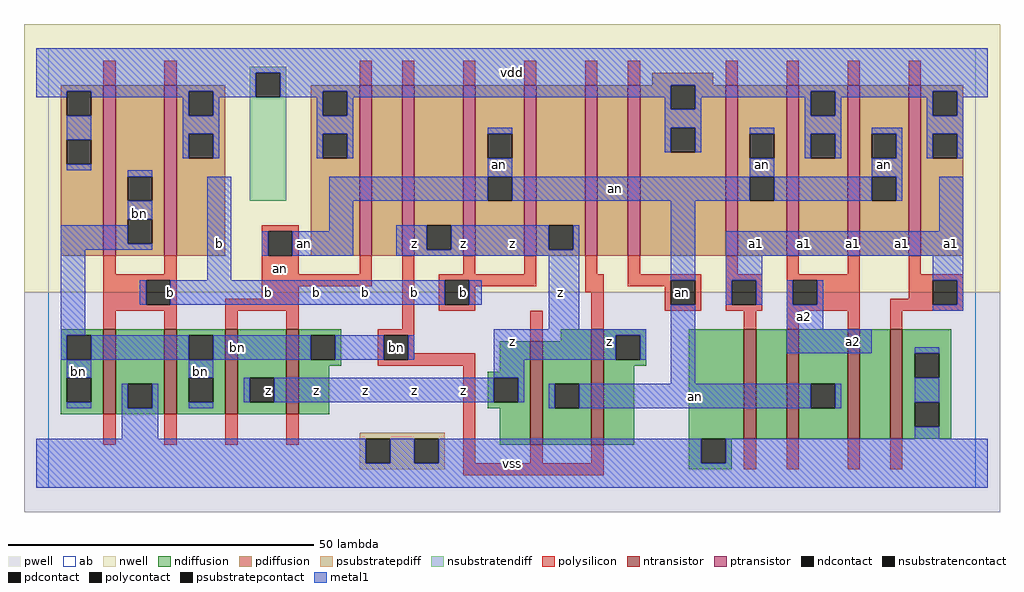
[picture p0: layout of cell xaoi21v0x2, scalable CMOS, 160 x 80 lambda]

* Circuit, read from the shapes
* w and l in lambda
.subckt xaoi21v0x2 a1 a2 an b bn vdd vss z
M1 vss b bn vss nfet w=14 l=2 m=2
M2 z an bn vss nfet w=14 l=2 m=2
M3 an bn z vss nfet w=17 l=2
M4 z bn an vss nfet w=19 l=2
M5 n1 a1 vss vss nfet w=18 l=2
M6 an a2 n1 vss nfet w=18 l=2
M7 n2 a2 an vss nfet w=18 l=2
M8 vss a1 n2 vss nfet w=18 l=2
M9 bn b vdd vdd pfet w=28 l=2 m=2
M10 n3 an vdd vdd pfet w=28 l=2
M11 z bn n3 vdd pfet w=28 l=2
M12 an b z vdd pfet w=28 l=2 m=2
M13 n4 bn z vdd pfet w=28 l=2
M14 vdd an n4 vdd pfet w=28 l=2
M15 an a1 vdd vdd pfet w=28 l=2 m=2
M16 vdd a2 an vdd pfet w=28 l=2 m=2
.ends

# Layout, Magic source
magic
tech scmos
<< ab >>
rect 0 0 152 72
<< pwell >>
rect -4 -4 156 32
<< nwell >>
rect -4 32 156 76
<< polysilicon >>
rect 9 66 11 70
rect 19 66 21 70
rect 51 66 53 70
rect 58 66 60 70
rect 68 66 70 70
rect 78 66 80 70
rect 88 66 90 70
rect 95 66 97 70
rect 111 66 113 70
rect 121 66 123 70
rect 131 66 133 70
rect 141 66 143 70
rect 35 42 41 43
rect 35 38 36 42
rect 40 38 41 42
rect 9 35 11 38
rect 19 35 21 38
rect 9 34 21 35
rect 9 30 16 34
rect 20 30 21 34
rect 35 35 41 38
rect 51 35 53 38
rect 35 33 53 35
rect 35 31 41 33
rect 9 29 21 30
rect 9 26 11 29
rect 19 26 21 29
rect 29 29 41 31
rect 29 26 31 29
rect 39 26 41 29
rect 58 26 60 38
rect 68 35 70 38
rect 78 35 80 38
rect 64 34 80 35
rect 64 30 65 34
rect 69 33 80 34
rect 88 35 90 38
rect 95 35 97 38
rect 111 35 113 38
rect 121 35 123 38
rect 131 35 133 38
rect 69 30 70 33
rect 88 32 91 35
rect 95 34 107 35
rect 95 33 102 34
rect 64 29 70 30
rect 54 25 60 26
rect 54 21 55 25
rect 59 22 60 25
rect 79 24 81 29
rect 89 26 91 32
rect 101 30 102 33
rect 106 30 107 34
rect 101 29 107 30
rect 111 34 117 35
rect 111 30 112 34
rect 116 30 117 34
rect 111 29 117 30
rect 121 34 133 35
rect 121 30 122 34
rect 126 30 133 34
rect 141 35 143 38
rect 141 34 150 35
rect 141 31 145 34
rect 121 29 133 30
rect 114 26 116 29
rect 121 26 123 29
rect 131 26 133 29
rect 138 30 145 31
rect 149 30 150 34
rect 138 29 150 30
rect 138 26 140 29
rect 59 21 70 22
rect 54 20 70 21
rect 9 7 11 12
rect 19 7 21 12
rect 29 7 31 12
rect 39 7 41 12
rect 68 4 70 20
rect 79 4 81 7
rect 89 4 91 7
rect 68 2 91 4
rect 114 3 116 8
rect 121 3 123 8
rect 131 3 133 8
rect 138 3 140 8
<< ndiffusion >>
rect 2 25 9 26
rect 2 21 3 25
rect 7 21 9 25
rect 2 18 9 21
rect 2 14 3 18
rect 7 14 9 18
rect 2 12 9 14
rect 11 17 19 26
rect 11 13 13 17
rect 17 13 19 17
rect 11 12 19 13
rect 21 25 29 26
rect 21 21 23 25
rect 27 21 29 25
rect 21 18 29 21
rect 21 14 23 18
rect 27 14 29 18
rect 21 12 29 14
rect 31 18 39 26
rect 31 14 33 18
rect 37 14 39 18
rect 31 12 39 14
rect 41 25 48 26
rect 41 21 43 25
rect 47 21 48 25
rect 41 20 48 21
rect 84 24 89 26
rect 41 12 46 20
rect 74 19 79 24
rect 72 18 79 19
rect 72 14 73 18
rect 77 14 79 18
rect 72 13 79 14
rect 74 7 79 13
rect 81 17 89 24
rect 81 13 83 17
rect 87 13 89 17
rect 81 7 89 13
rect 91 25 98 26
rect 91 21 93 25
rect 97 21 98 25
rect 91 20 98 21
rect 91 7 96 20
rect 105 8 114 26
rect 116 8 121 26
rect 123 17 131 26
rect 123 13 125 17
rect 129 13 131 17
rect 123 8 131 13
rect 133 8 138 26
rect 140 22 148 26
rect 140 18 142 22
rect 146 18 148 22
rect 140 14 148 18
rect 140 10 142 14
rect 146 10 148 14
rect 140 8 148 10
rect 105 4 107 8
rect 111 4 112 8
rect 105 3 112 4
<< pdiffusion >>
rect 2 65 9 66
rect 2 61 3 65
rect 7 61 9 65
rect 2 57 9 61
rect 2 53 3 57
rect 7 53 9 57
rect 2 38 9 53
rect 11 51 19 66
rect 11 47 13 51
rect 17 47 19 51
rect 11 44 19 47
rect 11 40 13 44
rect 17 40 19 44
rect 11 38 19 40
rect 21 65 29 66
rect 21 61 23 65
rect 27 61 29 65
rect 21 58 29 61
rect 21 54 23 58
rect 27 54 29 58
rect 21 38 29 54
rect 99 66 109 68
rect 43 65 51 66
rect 43 61 45 65
rect 49 61 51 65
rect 43 58 51 61
rect 43 54 45 58
rect 49 54 51 58
rect 43 38 51 54
rect 53 38 58 66
rect 60 43 68 66
rect 60 39 62 43
rect 66 39 68 43
rect 60 38 68 39
rect 70 58 78 66
rect 70 54 72 58
rect 76 54 78 58
rect 70 51 78 54
rect 70 47 72 51
rect 76 47 78 51
rect 70 38 78 47
rect 80 43 88 66
rect 80 39 82 43
rect 86 39 88 43
rect 80 38 88 39
rect 90 38 95 66
rect 97 62 102 66
rect 106 62 111 66
rect 97 59 111 62
rect 97 55 102 59
rect 106 55 111 59
rect 97 38 111 55
rect 113 58 121 66
rect 113 54 115 58
rect 119 54 121 58
rect 113 51 121 54
rect 113 47 115 51
rect 119 47 121 51
rect 113 38 121 47
rect 123 65 131 66
rect 123 61 125 65
rect 129 61 131 65
rect 123 58 131 61
rect 123 54 125 58
rect 129 54 131 58
rect 123 38 131 54
rect 133 58 141 66
rect 133 54 135 58
rect 139 54 141 58
rect 133 51 141 54
rect 133 47 135 51
rect 139 47 141 51
rect 133 38 141 47
rect 143 65 150 66
rect 143 61 145 65
rect 149 61 150 65
rect 143 58 150 61
rect 143 54 145 58
rect 149 54 150 58
rect 143 38 150 54
<< metal1 >>
rect -2 68 154 72
rect -2 65 34 68
rect -2 64 3 65
rect 7 64 23 65
rect 3 57 7 61
rect 22 61 23 64
rect 27 64 34 65
rect 38 66 154 68
rect 38 65 102 66
rect 38 64 45 65
rect 27 61 28 64
rect 22 58 28 61
rect 22 54 23 58
rect 27 54 28 58
rect 44 61 45 64
rect 49 64 102 65
rect 49 61 50 64
rect 44 58 50 61
rect 101 62 102 64
rect 106 65 154 66
rect 106 64 125 65
rect 106 62 107 64
rect 101 59 107 62
rect 124 61 125 64
rect 129 64 145 65
rect 129 61 130 64
rect 44 54 45 58
rect 49 54 50 58
rect 72 58 76 59
rect 101 55 102 59
rect 106 55 107 59
rect 115 58 119 59
rect 3 52 7 53
rect 13 51 17 52
rect 72 51 76 54
rect 124 58 130 61
rect 144 61 145 64
rect 149 64 154 65
rect 149 61 150 64
rect 124 54 125 58
rect 129 54 130 58
rect 135 58 140 59
rect 139 54 140 58
rect 144 58 150 61
rect 144 54 145 58
rect 149 54 150 58
rect 115 51 119 54
rect 135 51 140 54
rect 13 44 17 47
rect 2 40 13 43
rect 2 39 17 40
rect 2 25 6 39
rect 26 34 30 51
rect 46 47 72 51
rect 76 47 115 51
rect 119 47 135 51
rect 139 47 140 51
rect 46 42 50 47
rect 35 38 36 42
rect 40 38 50 42
rect 57 39 62 43
rect 66 39 82 43
rect 86 39 87 43
rect 57 38 87 39
rect 15 30 16 34
rect 20 30 65 34
rect 69 30 71 34
rect 82 26 87 38
rect 102 34 106 47
rect 146 42 150 51
rect 111 38 150 42
rect 111 34 117 38
rect 145 34 150 38
rect 111 30 112 34
rect 116 30 117 34
rect 121 30 122 34
rect 126 30 127 34
rect 73 25 98 26
rect 2 21 3 25
rect 7 21 23 25
rect 27 21 43 25
rect 47 21 55 25
rect 59 21 60 25
rect 73 21 93 25
rect 97 21 98 25
rect 3 18 7 21
rect 23 18 27 21
rect 73 18 78 21
rect 3 13 7 14
rect 12 13 13 17
rect 17 13 18 17
rect 32 14 33 18
rect 37 14 73 18
rect 77 14 78 18
rect 102 17 106 30
rect 121 26 127 30
rect 149 30 150 34
rect 145 29 150 30
rect 121 22 135 26
rect 142 22 146 23
rect 23 13 27 14
rect 82 13 83 17
rect 87 13 125 17
rect 129 13 130 17
rect 142 14 146 18
rect 12 8 18 13
rect 142 8 146 10
rect -2 4 52 8
rect 56 4 60 8
rect 64 4 107 8
rect 111 4 154 8
rect -2 0 154 4
<< ntransistor >>
rect 9 12 11 26
rect 19 12 21 26
rect 29 12 31 26
rect 39 12 41 26
rect 79 7 81 24
rect 89 7 91 26
rect 114 8 116 26
rect 121 8 123 26
rect 131 8 133 26
rect 138 8 140 26
<< ptransistor >>
rect 9 38 11 66
rect 19 38 21 66
rect 51 38 53 66
rect 58 38 60 66
rect 68 38 70 66
rect 78 38 80 66
rect 88 38 90 66
rect 95 38 97 66
rect 111 38 113 66
rect 121 38 123 66
rect 131 38 133 66
rect 141 38 143 66
<< polycontact >>
rect 36 38 40 42
rect 16 30 20 34
rect 65 30 69 34
rect 55 21 59 25
rect 102 30 106 34
rect 112 30 116 34
rect 122 30 126 34
rect 145 30 149 34
<< ndcontact >>
rect 3 21 7 25
rect 3 14 7 18
rect 13 13 17 17
rect 23 21 27 25
rect 23 14 27 18
rect 33 14 37 18
rect 43 21 47 25
rect 73 14 77 18
rect 83 13 87 17
rect 93 21 97 25
rect 125 13 129 17
rect 142 18 146 22
rect 142 10 146 14
rect 107 4 111 8
<< pdcontact >>
rect 3 61 7 65
rect 3 53 7 57
rect 13 47 17 51
rect 13 40 17 44
rect 23 61 27 65
rect 23 54 27 58
rect 45 61 49 65
rect 45 54 49 58
rect 62 39 66 43
rect 72 54 76 58
rect 72 47 76 51
rect 82 39 86 43
rect 102 62 106 66
rect 102 55 106 59
rect 115 54 119 58
rect 115 47 119 51
rect 125 61 129 65
rect 125 54 129 58
rect 135 54 139 58
rect 135 47 139 51
rect 145 61 149 65
rect 145 54 149 58
<< psubstratepcontact >>
rect 52 4 56 8
rect 60 4 64 8
<< nsubstratencontact >>
rect 34 64 38 68
<< psubstratepdiff >>
rect 51 8 65 9
rect 51 4 52 8
rect 56 4 60 8
rect 64 4 65 8
rect 51 3 65 4
<< nsubstratendiff >>
rect 33 68 39 69
rect 33 64 34 68
rect 38 64 39 68
rect 33 47 39 64
<< labels >>
rlabel polysilicon 38 36 38 36 6 an
rlabel polycontact 57 23 57 23 6 bn
rlabel polycontact 104 32 104 32 6 an
rlabel metal1 25 19 25 19 6 bn
rlabel metal1 5 19 5 19 6 bn
rlabel metal1 20 32 20 32 6 b
rlabel metal1 15 45 15 45 6 bn
rlabel ndcontact 36 16 36 16 6 z
rlabel metal1 44 16 44 16 6 z
rlabel metal1 52 16 52 16 6 z
rlabel metal1 36 32 36 32 6 b
rlabel metal1 44 32 44 32 6 b
rlabel metal1 52 32 52 32 6 b
rlabel metal1 28 40 28 40 6 b
rlabel metal1 42 40 42 40 6 an
rlabel metal1 76 4 76 4 6 vss
rlabel metal1 68 16 68 16 6 z
rlabel metal1 60 16 60 16 6 z
rlabel metal1 31 23 31 23 6 bn
rlabel metal1 76 24 76 24 6 z
rlabel polycontact 68 32 68 32 6 b
rlabel metal1 84 32 84 32 6 z
rlabel metal1 60 32 60 32 6 b
rlabel metal1 60 40 60 40 6 z
rlabel metal1 68 40 68 40 6 z
rlabel metal1 76 40 76 40 6 z
rlabel metal1 74 53 74 53 6 an
rlabel metal1 76 68 76 68 6 vdd
rlabel metal1 92 24 92 24 6 z
rlabel metal1 116 40 116 40 6 a1
rlabel polycontact 104 32 104 32 6 an
rlabel metal1 117 53 117 53 6 an
rlabel metal1 106 15 106 15 6 an
rlabel metal1 132 24 132 24 6 a2
rlabel metal1 124 28 124 28 6 a2
rlabel metal1 124 40 124 40 6 a1
rlabel metal1 148 40 148 40 6 a1
rlabel metal1 132 40 132 40 6 a1
rlabel metal1 140 40 140 40 6 a1
rlabel metal1 93 49 93 49 6 an
rlabel metal1 137 53 137 53 6 an
<< end >>
